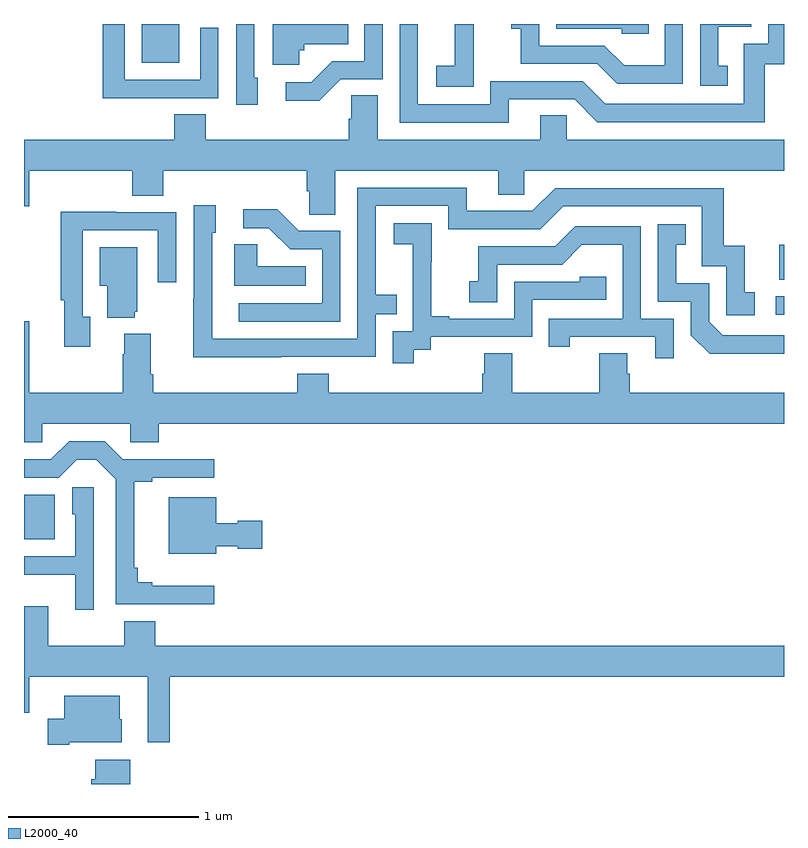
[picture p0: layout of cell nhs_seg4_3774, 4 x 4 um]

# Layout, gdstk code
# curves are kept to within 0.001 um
import gdstk
lib = gdstk.Library(unit=1e-6, precision=1e-09)
def R(c, l, rs):  # rectangles x0, y0, x1, y1
    for r in rs: c.add(gdstk.rectangle(r[:2], r[2:], *l))
def P(c, l, *ps):  # polygons
    for p in ps: c.add(gdstk.Polygon(p, *l))
L2000_40 = (2000, 40)

nhs_seg4_3774 = lib.new_cell('nhs_seg4_3774')
R(nhs_seg4_3774, L2000_40, [(309,820.187,309.163,820.423), (312.957,821.37,313,821.466), (312.974,821.555,313,821.737)])
P(nhs_seg4_3774, L2000_40, [(309.707,822.51),(310.023,822.51),(310.023,822.88),(309.927,822.88),(309.927,822.606),(309.531,822.606),(309.531,822.9),(309.415,822.9),(309.415,822.509),(309.707,822.509)],
  [(310.231,822.618),(310.212,822.618),(310.212,822.9),(310.116,822.9),(310.116,822.474),(310.231,822.474)],
  [(312.468,822.9),(312.372,822.9),(312.372,822.682),(312.158,822.682),(312.054,822.786),(311.712,822.786),(311.712,822.9),(311.565,822.9),(311.565,822.875),(311.614,822.875),(311.614,822.69),(312.017,822.69),(312.122,822.585),(312.468,822.585)],
  [(312.287,822.9),(311.802,822.9),(311.802,822.876),(312.147,822.876),(312.147,822.849),(312.287,822.849)],
  [(311.367,822.775),(311.366,822.775),(311.366,822.9),(311.267,822.9),(311.267,822.679),(311.169,822.679),(311.169,822.569),(311.367,822.569)],
  [(312.704,822.681),(312.655,822.681),(312.655,822.885),(312.828,822.885),(312.828,822.9),(312.558,822.9),(312.558,822.576),(312.704,822.576)],
  [(311.551,822.504),(311.898,822.504),(312.018,822.384),(312.898,822.384),(312.898,822.687),(313,822.687),(313,822.9),(312.918,822.9),(312.918,822.795),(312.789,822.795),(312.789,822.48),(312.06,822.48),(311.94,822.6),(311.454,822.6),(311.454,822.477),(311.073,822.477),(311.073,822.9),(310.977,822.9),(310.977,822.381),(311.551,822.381)],
  [(310.668,822.609),(310.887,822.609),(310.887,822.9),(310.791,822.9),(310.791,822.705),(310.622,822.705),(310.511,822.594),(310.377,822.594),(310.377,822.497),(310.555,822.497)],
  [(309.817,822.9),(309.659,822.9),(309.659,822.898),(309.62,822.898),(309.62,822.695),(309.817,822.695)],
  [(310.449,822.762),(310.476,822.762),(310.476,822.794),(310.706,822.794),(310.706,822.898),(310.31,822.898),(310.31,822.686),(310.449,822.686)],
  [(310.639,822.128),(311.495,822.128),(311.495,822.001),(311.634,822.001),(311.634,822.128),(313,822.128),(313,822.292),(311.856,822.292),(311.856,822.419),(311.717,822.419),(311.717,822.292),(310.861,822.292),(310.861,822.524),(310.722,822.524),(310.722,822.401),(310.709,822.401),(310.709,822.292),(309.956,822.292),(309.956,822.425),(309.791,822.425),(309.791,822.292),(309,822.292),(309,821.94),(309.028,821.94),(309.028,822.128),(309.569,822.128),(309.569,821.995),(309.734,821.995),(309.734,822.128),(310.487,822.128),(310.487,822.019),(310.5,822.019),(310.5,821.896),(310.639,821.896)],
  [(310.355,821.148),(310.851,821.148),(310.851,821.373),(310.961,821.373),(310.961,821.474),(310.851,821.474),(310.851,821.943),(311.232,821.943),(311.232,821.82),(311.718,821.82),(311.838,821.94),(312.567,821.94),(312.567,821.625),(312.696,821.625),(312.696,821.367),(312.847,821.367),(312.847,821.487),(312.794,821.487),(312.794,821.734),(312.683,821.734),(312.683,822.036),(311.796,822.036),(311.676,821.916),(311.329,821.916),(311.329,822.039),(310.755,822.039),(310.755,821.244),(309.99,821.244),(309.99,821.802),(310.009,821.802),(310.009,821.947),(309.894,821.947),(309.894,821.453),(309.892,821.453),(309.892,821.147)],
  [(310.665,821.811),(310.446,821.811),(310.333,821.924),(310.155,821.924),(310.155,821.826),(310.289,821.826),(310.4,821.715),(310.569,821.715),(310.569,821.43),(310.131,821.43),(310.131,821.334),(310.665,821.334)],
  [(309.349,821.358),(309.309,821.358),(309.309,821.814),(309.705,821.814),(309.705,821.541),(309.801,821.541),(309.801,821.91),(309.485,821.91),(309.485,821.912),(309.193,821.912),(309.193,821.446),(309.212,821.446),(309.212,821.202),(309.349,821.202)],
  [(311.05,821.185),(311.142,821.185),(311.142,821.253),(311.676,821.253),(311.676,821.448),(312.065,821.448),(312.065,821.571),(311.925,821.571),(311.925,821.544),(311.58,821.544),(311.58,821.349),(311.239,821.349),(311.239,821.362),(311.144,821.362),(311.144,821.645),(311.145,821.645),(311.145,821.851),(310.947,821.851),(310.947,821.741),(311.045,821.741),(311.045,821.513),(311.046,821.513),(311.046,821.283),(310.941,821.283),(310.941,821.115),(311.05,821.115)],
  [(313,821.262),(312.678,821.262),(312.606,821.334),(312.606,821.535),(312.433,821.535),(312.433,821.739),(312.482,821.739),(312.482,821.845),(312.336,821.845),(312.336,821.439),(312.51,821.439),(312.51,821.262),(312.608,821.165),(313,821.165)],
  [(312.42,821.349),(312.246,821.349),(312.246,821.835),(311.9,821.835),(311.795,821.73),(311.392,821.73),(311.392,821.545),(311.343,821.545),(311.343,821.436),(311.49,821.436),(311.49,821.634),(311.832,821.634),(311.936,821.738),(312.15,821.738),(312.15,821.349),(311.761,821.349),(311.761,821.202),(311.872,821.202),(311.872,821.253),(312.323,821.253),(312.323,821.142),(312.42,821.142)],
  [(310.484,821.626),(310.227,821.626),(310.227,821.741),(310.106,821.741),(310.106,821.522),(310.484,821.522)],
  [(309.584,821.385),(309.595,821.385),(309.595,821.725),(309.398,821.725),(309.398,821.522),(309.437,821.522),(309.437,821.354),(309.584,821.354)],
  [(309.096,820.796),(309.558,820.796),(309.558,820.698),(309.71,820.698),(309.71,820.796),(313,820.796),(313,820.96),(312.188,820.96),(312.188,821.058),(312.175,821.058),(312.175,821.168),(312.028,821.168),(312.028,820.96),(311.571,820.96),(311.571,821.168),(311.423,821.168),(311.423,821.058),(311.411,821.058),(311.411,820.96),(310.604,820.96),(310.604,821.059),(310.439,821.059),(310.439,820.96),(309.68,820.96),(309.68,821.056),(309.667,821.056),(309.667,821.269),(309.527,821.269),(309.527,821.162),(309.52,821.162),(309.52,820.96),(309.028,820.96),(309.028,821.335),(309,821.335),(309,820.698),(309.096,820.698)],
  [(310,819.943),(309.676,819.943),(309.676,819.962),(309.599,819.962),(309.599,820.039),(309.581,820.039),(309.581,820.492),(309.676,820.492),(309.676,820.512),(310,820.512),(310,820.61),(309.753,820.61),(309.753,820.608),(309.52,820.608),(309.424,820.704),(309.237,820.704),(309.141,820.608),(309,820.608),(309,820.512),(309.183,820.512),(309.278,820.607),(309.379,820.607),(309.483,820.503),(309.483,819.846),(310,819.845)],
  [(309.366,820.463),(309.254,820.463),(309.254,820.32),(309.27,820.32),(309.27,820.098),(309,820.098),(309,820.001),(309.269,820.001),(309.269,819.816),(309.366,819.816)],
  [(310.012,820.151),(310.125,820.151),(310.125,820.139),(310.255,820.139),(310.255,820.286),(310.125,820.286),(310.125,820.273),(310.012,820.273),(310.012,820.408),(309.761,820.408),(309.761,820.112),(310.012,820.112)],
  [(309.767,819.464),(313,819.464),(313,819.628),(309.691,819.628),(309.691,819.757),(309.527,819.757),(309.527,819.628),(309.127,819.628),(309.127,819.835),(309,819.835),(309,819.276),(309.028,819.276),(309.028,819.464),(309.65,819.464),(309.65,819.12),(309.767,819.12)],
  [(309.238,819.119),(309.514,819.119),(309.514,819.24),(309.505,819.24),(309.505,819.364),(309.212,819.364),(309.212,819.244),(309.126,819.244),(309.126,819.107),(309.238,819.107)],
  [(309.559,819.028),(309.375,819.028),(309.375,818.924),(309.355,818.924),(309.355,818.9),(309.559,818.9)])

lib.write_gds('nhs_seg4_3774.gds')
